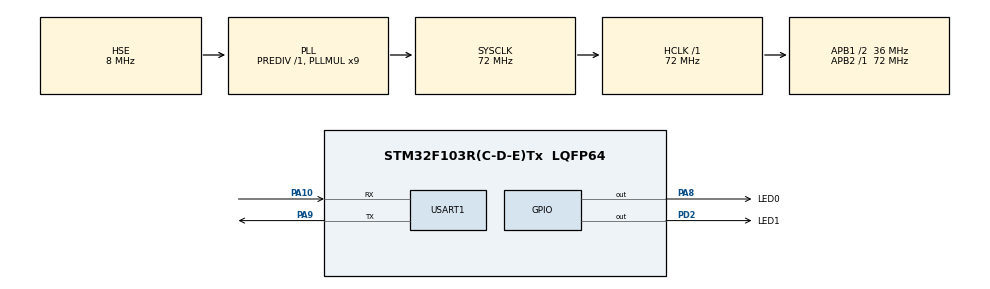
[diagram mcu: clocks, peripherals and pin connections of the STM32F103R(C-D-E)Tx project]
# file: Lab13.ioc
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FREERTOS.BinarySemaphores01=bSem01,Dynamic,NULL
FREERTOS.CountingSemaphores01=bSemEmpty,4,Dynamic,NULL;bSemFilled,4,Dynamic,NULL
FREERTOS.Tasks01=Periodic,0,128,PeriodicTask,Default,NULL,Dynamic,NULL,NULL;Handle,0,128,HandleTask,Default,NULL,Dynamic,NULL,NULL;Producer,0,128,FuncProducer,Default,NULL,Dynamic,NULL,NULL;Consumer,-1,128,FuncConsumer,Default,NULL,Dynamic,NULL,NULL
FREERTOS.configTOTAL_HEAP_SIZE=4096
FREERTOS.configUSE_COUNTING_SEMAPHORES=1
Mcu.Family=STM32F1
Mcu.Name=STM32F103R(C-D-E)Tx
Mcu.Package=LQFP64
NVIC.PriorityGroup=NVIC_PRIORITYGROUP_4
NVIC.TIM3_IRQn=true\:15\:0\:false\:false\:true\:false\:false\:true\:true
NVIC.TimeBase=TIM3_IRQn
NVIC.TimeBaseIP=TIM3
NVIC.USART1_IRQn=true\:5\:0\:false\:false\:true\:true\:true\:true\:true
PA10.Mode=Asynchronous
PA10.Signal=USART1_RX
PA13.Mode=Serial_Wire
PA13.Signal=SYS_JTMS-SWDIO
PA14.Mode=Serial_Wire
PA14.Signal=SYS_JTCK-SWCLK
PA8.GPIO_Label=LED0
PA8.PinState=GPIO_PIN_SET
PA8.Signal=GPIO_Output
PA9.Mode=Asynchronous
PA9.Signal=USART1_TX
PD0-OSC_IN.Mode=HSE-External-Oscillator
PD0-OSC_IN.Signal=RCC_OSC_IN
PD1-OSC_OUT.Mode=HSE-External-Oscillator
PD1-OSC_OUT.Signal=RCC_OSC_OUT
PD2.GPIO_Label=LED1
PD2.PinState=GPIO_PIN_SET
PD2.Signal=GPIO_Output
ProjectManager.HeapSize=0x200
ProjectManager.StackSize=0x400
ProjectManager.TargetToolchain=STM32CubeIDE
RCC.AHBFreq_Value=72000000
RCC.APB1CLKDivider=RCC_HCLK_DIV2
RCC.APB1Freq_Value=36000000
RCC.APB1TimFreq_Value=72000000
RCC.APB2Freq_Value=72000000
RCC.APB2TimFreq_Value=72000000
RCC.HCLKFreq_Value=72000000
RCC.PLLMUL=RCC_PLL_MUL9
RCC.PLLSourceVirtual=RCC_PLLSOURCE_HSE
RCC.SYSCLKFreq_VALUE=72000000
RCC.SYSCLKSource=RCC_SYSCLKSOURCE_PLLCLK
RCC.USBFreq_Value=72000000
USART1.VirtualMode=VM_ASYNC
VP_FREERTOS_VS_CMSIS_V1.Mode=CMSIS_V1
VP_SYS_VS_tim3.Mode=TIM3
board=custom

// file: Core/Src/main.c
/* USER CODE BEGIN Header */
/**
  ******************************************************************************
  * @file           : main.c
  * @brief          : Main program body
  ******************************************************************************
  * @attention
  *
  * Copyright (c) 2022 STMicroelectronics.
  * All rights reserved.
  *
  * This software is licensed under terms that can be found in the LICENSE file
  * in the root directory of this software component.
  * If no LICENSE file comes with this software, it is provided AS-IS.
  *
  ******************************************************************************
  */
/* USER CODE END Header */
#include "main.h"
#include "cmsis_os.h"

UART_HandleTypeDef huart1;

osThreadId PeriodicHandle;
osThreadId HandleHandle;
osThreadId ProducerHandle;
osThreadId ConsumerHandle;
osSemaphoreId bSem01Handle;
osSemaphoreId bSemEmptyHandle;
osSemaphoreId bSemFilledHandle;
/* USER CODE BEGIN PV */
unsigned char msg[100];
/* USER CODE END PV */

void SystemClock_Config(void);
static void MX_GPIO_Init(void);
static void MX_USART1_UART_Init(void);
void PeriodicTask(void const * argument);
void HandleTask(void const * argument);
void FuncProducer(void const * argument);
void FuncConsumer(void const * argument);

int main(void)
{

  /* MCU Configuration--------------------------------------------------------*/

  /* Reset of all peripherals, Initializes the Flash interface and the Systick. */
  HAL_Init();

  /* Configure the system clock */
  SystemClock_Config();

  /* Initialize all configured peripherals */
  MX_GPIO_Init();
  MX_USART1_UART_Init();

  /* Create the semaphores(s) */
  /* definition and creation of bSem01 */
  osSemaphoreDef(bSem01);
  bSem01Handle = osSemaphoreCreate(osSemaphore(bSem01), 1);

  /* definition and creation of bSemEmpty */
  osSemaphoreDef(bSemEmpty);
  bSemEmptyHandle = osSemaphoreCreate(osSemaphore(bSemEmpty), 4);

  /* definition and creation of bSemFilled */
  osSemaphoreDef(bSemFilled);
  bSemFilledHandle = osSemaphoreCreate(osSemaphore(bSemFilled), 4);

  /* Create the thread(s) */
  /* definition and creation of Periodic */
  osThreadDef(Periodic, PeriodicTask, osPriorityNormal, 0, 128);
  PeriodicHandle = osThreadCreate(osThread(Periodic), NULL);

  /* definition and creation of Handle */
  osThreadDef(Handle, HandleTask, osPriorityNormal, 0, 128);
  HandleHandle = osThreadCreate(osThread(Handle), NULL);

  /* definition and creation of Producer */
  osThreadDef(Producer, FuncProducer, osPriorityNormal, 0, 128);
  ProducerHandle = osThreadCreate(osThread(Producer), NULL);

  /* definition and creation of Consumer */
  osThreadDef(Consumer, FuncConsumer, osPriorityBelowNormal, 0, 128);
  ConsumerHandle = osThreadCreate(osThread(Consumer), NULL);

  /* Start scheduler */
  osKernelStart();

  /* We should never get here as control is now taken by the scheduler */
  /* Infinite loop */
  while (1)
  {

  }
}

void SystemClock_Config(void)
{
  RCC_OscInitTypeDef RCC_OscInitStruct = {0};
  RCC_ClkInitTypeDef RCC_ClkInitStruct = {0};

  /** Initializes the RCC Oscillators according to the specified parameters
  * in the RCC_OscInitTypeDef structure.
  */
  RCC_OscInitStruct.OscillatorType = RCC_OSCILLATORTYPE_HSE;
  RCC_OscInitStruct.HSEState = RCC_HSE_ON;
  RCC_OscInitStruct.HSEPredivValue = RCC_HSE_PREDIV_DIV1;
  RCC_OscInitStruct.HSIState = RCC_HSI_ON;
  RCC_OscInitStruct.PLL.PLLState = RCC_PLL_ON;
  RCC_OscInitStruct.PLL.PLLSource = RCC_PLLSOURCE_HSE;
  RCC_OscInitStruct.PLL.PLLMUL = RCC_PLL_MUL9;
  if (HAL_RCC_OscConfig(&RCC_OscInitStruct) != HAL_OK)
  {
    Error_Handler();
  }

  /** Initializes the CPU, AHB and APB buses clocks
  */
  RCC_ClkInitStruct.ClockType = RCC_CLOCKTYPE_HCLK|RCC_CLOCKTYPE_SYSCLK
                              |RCC_CLOCKTYPE_PCLK1|RCC_CLOCKTYPE_PCLK2;
  RCC_ClkInitStruct.SYSCLKSource = RCC_SYSCLKSOURCE_PLLCLK;
  RCC_ClkInitStruct.AHBCLKDivider = RCC_SYSCLK_DIV1;
  RCC_ClkInitStruct.APB1CLKDivider = RCC_HCLK_DIV2;
  RCC_ClkInitStruct.APB2CLKDivider = RCC_HCLK_DIV1;

  if (HAL_RCC_ClockConfig(&RCC_ClkInitStruct, FLASH_LATENCY_2) != HAL_OK)
  {
    Error_Handler();
  }
}

static void MX_USART1_UART_Init(void)
{

  huart1.Instance = USART1;
  huart1.Init.BaudRate = 115200;
  huart1.Init.WordLength = UART_WORDLENGTH_8B;
  huart1.Init.StopBits = UART_STOPBITS_1;
  huart1.Init.Parity = UART_PARITY_NONE;
  huart1.Init.Mode = UART_MODE_TX_RX;
  huart1.Init.HwFlowCtl = UART_HWCONTROL_NONE;
  huart1.Init.OverSampling = UART_OVERSAMPLING_16;
  if (HAL_UART_Init(&huart1) != HAL_OK)
  {
    Error_Handler();
  }

}

static void MX_GPIO_Init(void)
{
  GPIO_InitTypeDef GPIO_InitStruct = {0};

  /* GPIO Ports Clock Enable */
  __HAL_RCC_GPIOD_CLK_ENABLE();
  __HAL_RCC_GPIOA_CLK_ENABLE();

  /*Configure GPIO pin Output Level */
  HAL_GPIO_WritePin(LED0_GPIO_Port, LED0_Pin, GPIO_PIN_SET);

  /*Configure GPIO pin Output Level */
  HAL_GPIO_WritePin(LED1_GPIO_Port, LED1_Pin, GPIO_PIN_SET);

  /*Configure GPIO pin : LED0_Pin */
  GPIO_InitStruct.Pin = LED0_Pin;
  GPIO_InitStruct.Mode = GPIO_MODE_OUTPUT_PP;
  GPIO_InitStruct.Pull = GPIO_NOPULL;
  GPIO_InitStruct.Speed = GPIO_SPEED_FREQ_LOW;
  HAL_GPIO_Init(LED0_GPIO_Port, &GPIO_InitStruct);

  /*Configure GPIO pin : LED1_Pin */
  GPIO_InitStruct.Pin = LED1_Pin;
  GPIO_InitStruct.Mode = GPIO_MODE_OUTPUT_PP;
  GPIO_InitStruct.Pull = GPIO_NOPULL;
  GPIO_InitStruct.Speed = GPIO_SPEED_FREQ_LOW;
  HAL_GPIO_Init(LED1_GPIO_Port, &GPIO_InitStruct);

}

void PeriodicTask(void const * argument)
{
  /* USER CODE BEGIN 5 */
  /* Infinite loop */
  for(;;)
  {
	  osDelay(1000);
	  osSemaphoreRelease(bSem01Handle);

  }
  /* USER CODE END 5 */
}

void HandleTask(void const * argument)
{
  /* USER CODE BEGIN HandleTask */
  /* Infinite loop */
  for(;;)
  {
	  osSemaphoreWait(bSem01Handle, osWaitForever);
	  HAL_GPIO_TogglePin(LED0_GPIO_Port, LED0_Pin);
	  HAL_GPIO_TogglePin(LED1_GPIO_Port, LED1_Pin);
  }
  /* USER CODE END HandleTask */
}

void FuncProducer(void const * argument)
{
  /* USER CODE BEGIN FuncProducer */
  /* Infinite loop */
  for(;;)
  {
	  osSemaphoreWait(bSemEmptyHandle, osWaitForever);
	  sprintf(msg, "Producer produce data\r\n");
	  HAL_UART_Transmit(&huart1, (uint8_t*)msg, strlen(msg), HAL_MAX_DELAY);
	  HAL_Delay(500);
	  osSemaphoreRelease(bSemFilledHandle);
  }
  /* USER CODE END FuncProducer */
}

void FuncConsumer(void const * argument)
{
  /* USER CODE BEGIN FuncConsumer */
  /* Infinite loop */
  for(;;)
  {
	  osSemaphoreWait(bSemFilledHandle, osWaitForever);
	  sprintf(msg, "Consumer consume data\r\n");
	  HAL_UART_Transmit(&huart1, (uint8_t*)msg, strlen(msg), HAL_MAX_DELAY);
	  HAL_Delay(500);
	  osSemaphoreRelease(bSemEmptyHandle);
  }
  /* USER CODE END FuncConsumer */
}

void HAL_TIM_PeriodElapsedCallback(TIM_HandleTypeDef *htim)
{
  if (htim->Instance == TIM3) {
    HAL_IncTick();
  }
}

void Error_Handler(void)
{
  __disable_irq();
  while (1)
  {
  }
}

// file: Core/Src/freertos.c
/* USER CODE BEGIN Header */
/**
  ******************************************************************************
  * File Name          : freertos.c
  * Description        : Code for freertos applications
  ******************************************************************************
  * @attention
  *
  * Copyright (c) 2022 STMicroelectronics.
  * All rights reserved.
  *
  * This software is licensed under terms that can be found in the LICENSE file
  * in the root directory of this software component.
  * If no LICENSE file comes with this software, it is provided AS-IS.
  *
  ******************************************************************************
  */
/* USER CODE END Header */

#include "FreeRTOS.h"
#include "task.h"
#include "main.h"

/* GetIdleTaskMemory prototype (linked to static allocation support) */
void vApplicationGetIdleTaskMemory( StaticTask_t **ppxIdleTaskTCBBuffer, StackType_t **ppxIdleTaskStackBuffer, uint32_t *pulIdleTaskStackSize );

/* USER CODE BEGIN GET_IDLE_TASK_MEMORY */
static StaticTask_t xIdleTaskTCBBuffer;
static StackType_t xIdleStack[configMINIMAL_STACK_SIZE];

void vApplicationGetIdleTaskMemory( StaticTask_t **ppxIdleTaskTCBBuffer, StackType_t **ppxIdleTaskStackBuffer, uint32_t *pulIdleTaskStackSize )
{
  *ppxIdleTaskTCBBuffer = &xIdleTaskTCBBuffer;
  *ppxIdleTaskStackBuffer = &xIdleStack[0];
  *pulIdleTaskStackSize = configMINIMAL_STACK_SIZE;
  /* place for user code */
}
/* USER CODE END GET_IDLE_TASK_MEMORY */
